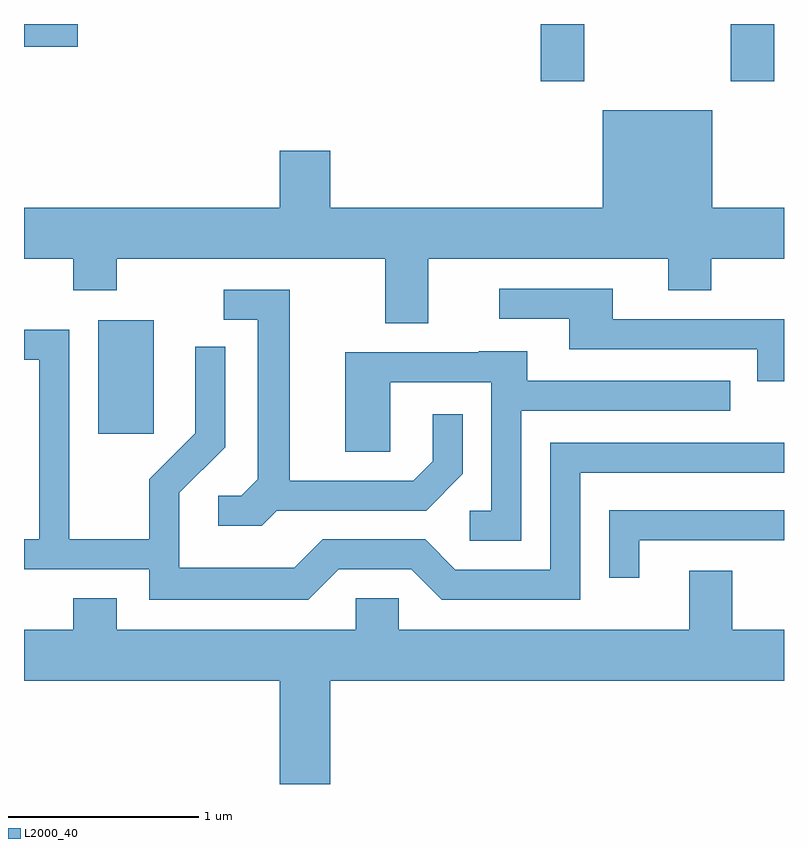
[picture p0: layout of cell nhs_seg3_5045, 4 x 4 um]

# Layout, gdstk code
import gdstk
lib = gdstk.Library(unit=1e-6, precision=1e-09)
def R(c, l, rs):  # rectangles x0, y0, x1, y1
    for r in rs: c.add(gdstk.rectangle(r[:2], r[2:], *l))
def P(c, l, *ps):  # polygons
    for p in ps: c.add(gdstk.Polygon(p, *l))
L2000_40 = (2000, 40)

nhs_seg3_5045 = lib.new_cell('nhs_seg3_5045')
R(nhs_seg3_5045, L2000_40, [(334.001,1151.736,334.294,1152.334), (336.331,1153.591,336.559,1153.892), (337.331,1153.591,337.559,1153.892), (333.611,1153.771,333.894,1153.892)])
P(nhs_seg3_5045, L2000_40, [(335.739,1152.656),(337.001,1152.656),(337.001,1152.491),(337.229,1152.491),(337.229,1152.656),(337.611,1152.656),(337.611,1152.924),(337.234,1152.924),(337.234,1153.439),(336.656,1153.439),(336.656,1152.924),(335.224,1152.924),(335.224,1153.224),(334.956,1153.224),(334.956,1152.924),(333.611,1152.924),(333.611,1152.656),(333.871,1152.656),(333.871,1152.491),(334.099,1152.491),(334.099,1152.656),(335.511,1152.656),(335.511,1152.316),(335.739,1152.316)],
  [(337.611,1152.339),(336.709,1152.339),(336.709,1152.499),(336.113,1152.499),(336.113,1152.341),(336.481,1152.341),(336.481,1152.181),(337.471,1152.181),(337.471,1152.011),(337.611,1152.011)],
  [(334.942,1151.331),(335.727,1151.331),(335.919,1151.524),(335.919,1151.838),(335.761,1151.838),(335.761,1151.592),(335.659,1151.489),(335.009,1151.489),(335.009,1152.494),(334.663,1152.494),(334.663,1152.336),(334.841,1152.336),(334.841,1151.497),(334.754,1151.409),(334.633,1151.409),(334.633,1151.251),(334.862,1151.251)],
  [(335.267,1151.021),(335.649,1151.021),(335.809,1150.861),(336.539,1150.861),(336.539,1151.531),(337.611,1151.531),(337.611,1151.689),(336.381,1151.689),(336.381,1151.019),(335.882,1151.019),(335.722,1151.179),(335.184,1151.179),(335.034,1151.029),(334.429,1151.029),(334.429,1151.424),(334.669,1151.664),(334.669,1152.193),(334.511,1152.193),(334.511,1151.737),(334.271,1151.497),(334.271,1151.179),(333.849,1151.179),(333.849,1152.284),(333.611,1152.284),(333.611,1152.126),(333.691,1152.126),(333.691,1151.179),(333.611,1151.179),(333.611,1151.021),(334.271,1151.021),(334.271,1150.861),(335.107,1150.861)],
  [(336.229,1151.856),(337.328,1151.856),(337.328,1152.014),(336.259,1152.014),(336.259,1152.169),(336.005,1152.169),(336.005,1152.164),(335.301,1152.164),(335.301,1151.641),(335.539,1151.641),(335.539,1152.006),(336.071,1152.006),(336.071,1151.329),(335.958,1151.329),(335.958,1151.171),(336.229,1151.171)],
  [(336.849,1151.176),(337.611,1151.176),(337.611,1151.334),(336.691,1151.334),(336.691,1150.978),(336.849,1150.978)],
  [(335.224,1150.436),(337.611,1150.436),(337.611,1150.704),(337.339,1150.704),(337.339,1151.014),(337.111,1151.014),(337.111,1150.704),(335.584,1150.704),(335.584,1150.869),(335.356,1150.869),(335.356,1150.704),(334.099,1150.704),(334.099,1150.869),(333.871,1150.869),(333.871,1150.704),(333.611,1150.704),(333.611,1150.436),(334.956,1150.436),(334.956,1149.892),(335.224,1149.892)])

lib.write_gds('nhs_seg3_5045.gds')
